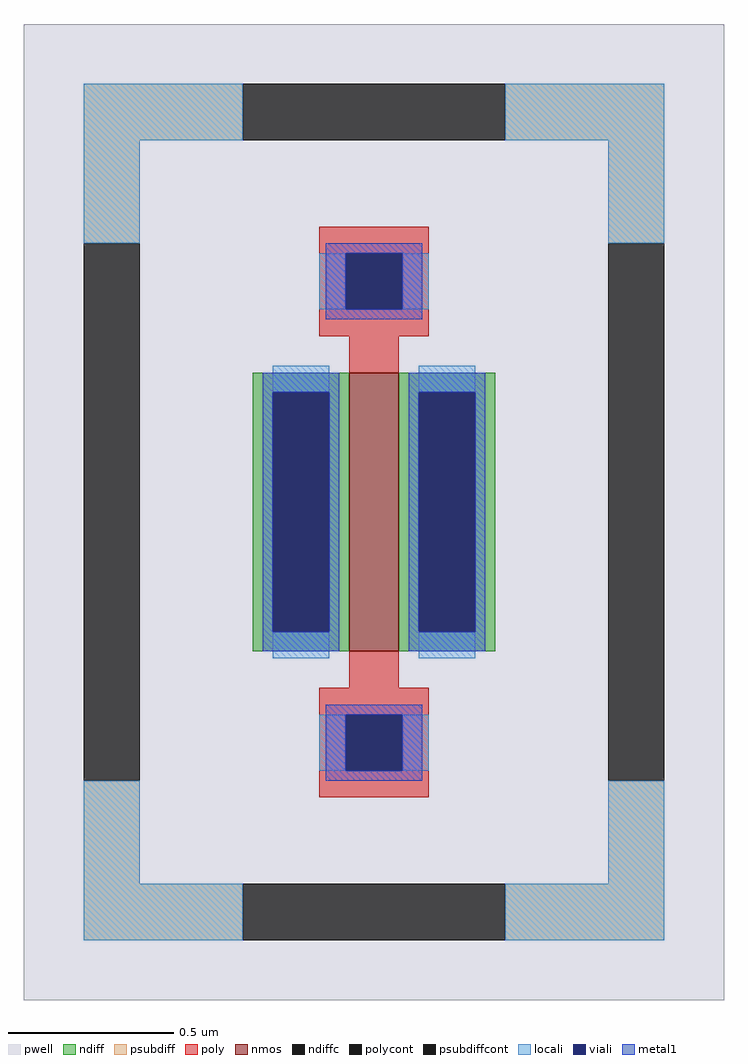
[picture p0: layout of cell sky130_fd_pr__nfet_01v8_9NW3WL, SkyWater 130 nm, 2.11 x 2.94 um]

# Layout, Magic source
magic
tech sky130A
magscale 1 2
<< pwell >>
rect -211 -294 211 294
<< nmos >>
rect -15 -84 15 84
<< ndiff >>
rect -73 72 -15 84
rect -73 -72 -61 72
rect -27 -72 -15 72
rect -73 -84 -15 -72
rect 15 72 73 84
rect 15 -72 27 72
rect 61 -72 73 72
rect 15 -84 73 -72
<< ndiffc >>
rect -61 -72 -27 72
rect 27 -72 61 72
<< psubdiff >>
rect -175 224 -79 258
rect 79 224 175 258
rect -175 162 -141 224
rect 141 162 175 224
rect -175 -224 -141 -162
rect 141 -224 175 -162
rect -175 -258 -79 -224
rect 79 -258 175 -224
<< psubdiffcont >>
rect -79 224 79 258
rect -175 -162 -141 162
rect 141 -162 175 162
rect -79 -258 79 -224
<< poly >>
rect -33 156 33 172
rect -33 122 -17 156
rect 17 122 33 156
rect -33 106 33 122
rect -15 84 15 106
rect -15 -106 15 -84
rect -33 -122 33 -106
rect -33 -156 -17 -122
rect 17 -156 33 -122
rect -33 -172 33 -156
<< polycont >>
rect -17 122 17 156
rect -17 -156 17 -122
<< locali >>
rect -175 224 -79 258
rect 79 224 175 258
rect -175 162 -141 224
rect 141 162 175 224
rect -33 122 -17 156
rect 17 122 33 156
rect -61 72 -27 88
rect -61 -88 -27 -72
rect 27 72 61 88
rect 27 -88 61 -72
rect -33 -156 -17 -122
rect 17 -156 33 -122
rect -175 -224 -141 -162
rect 141 -224 175 -162
rect -175 -258 -79 -224
rect 79 -258 175 -224
<< viali >>
rect -17 122 17 156
rect -61 -72 -27 72
rect 27 -72 61 72
rect -17 -156 17 -122
<< metal1 >>
rect -29 156 29 162
rect -29 122 -17 156
rect 17 122 29 156
rect -29 116 29 122
rect -67 72 -21 84
rect -67 -72 -61 72
rect -27 -72 -21 72
rect -67 -84 -21 -72
rect 21 72 67 84
rect 21 -72 27 72
rect 61 -72 67 72
rect 21 -84 67 -72
rect -29 -122 29 -116
rect -29 -156 -17 -122
rect 17 -156 29 -122
rect -29 -162 29 -156
<< properties >>
string FIXED_BBOX -158 -241 158 241
string gencell sky130_fd_pr__nfet_01v8
string library sky130
string parameters w 0.84 l 0.15 m 1 nf 1 diffcov 100 polycov 100 guard 1 glc 1 grc 1 gtc 1 gbc 1 tbcov 100 rlcov 100 topc 1 botc 1 poverlap 0 doverlap 1 lmin 0.15 wmin 0.42 compatible {sky130_fd_pr__nfet_01v8 sky130_fd_pr__nfet_01v8_lvt  sky130_fd_bs_flash__special_sonosfet_star  sky130_fd_pr__nfet_g5v0d10v5 sky130_fd_pr__nfet_05v0_nvt  sky130_fd_pr__nfet_03v3_nvt} full_metal 1 viasrc 100 viadrn 100 viagate 100 viagb 0 viagr 0 viagl 0 viagt 0
<< end >>
